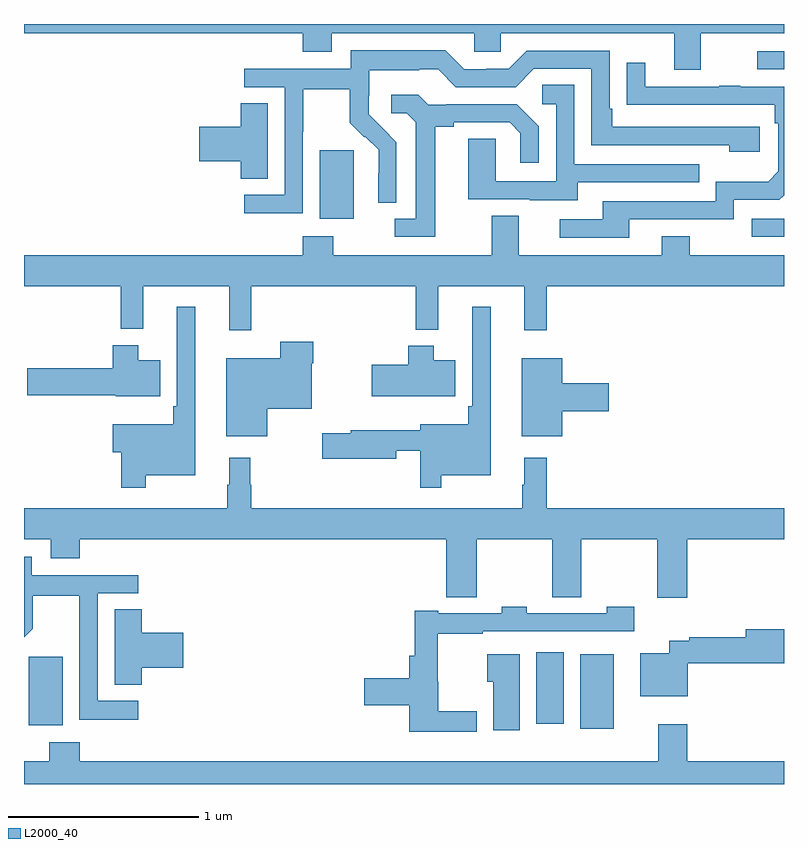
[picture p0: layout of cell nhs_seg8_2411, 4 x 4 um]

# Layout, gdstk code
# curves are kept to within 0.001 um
import gdstk
lib = gdstk.Library(unit=1e-6, precision=1e-09)
def R(c, l, rs):  # rectangles x0, y0, x1, y1
    for r in rs: c.add(gdstk.rectangle(r[:2], r[2:], *l))
def P(c, l, *ps):  # polygons
    for p in ps: c.add(gdstk.Polygon(p, *l))
L2000_40 = (2000, 40)

nhs_seg8_2411 = lib.new_cell('nhs_seg8_2411')
R(nhs_seg8_2411, L2000_40, [(265.928,1094.192,266.104,1094.584), (263.024,1094.21,263.203,1094.571), (265.697,1094.217,265.84,1094.593), (266.829,1096.779,267,1096.875), (264.557,1096.874,264.736,1097.235), (266.859,1097.661,267,1097.757)])
P(nhs_seg8_2411, L2000_40, [(263,1097.852),(264.467,1097.852),(264.467,1097.753),(264.619,1097.753),(264.619,1097.852),(265.371,1097.852),(265.371,1097.754),(265.509,1097.754),(265.509,1097.852),(266.423,1097.852),(266.423,1097.658),(266.563,1097.658),(266.563,1097.852),(267,1097.852),(267,1097.9),(263,1097.9)],
  [(264.468,1097.332),(264.471,1097.332),(264.471,1097.556),(264.715,1097.556),(264.715,1097.381),(264.792,1097.304),(264.795,1097.307),(264.866,1097.237),(264.866,1097.114),(264.864,1097.114),(264.864,1096.96),(264.96,1096.96),(264.96,1097.278),(264.814,1097.426),(264.814,1097.523),(264.816,1097.523),(264.816,1097.657),(265.079,1097.657),(265.079,1097.661),(265.179,1097.661),(265.272,1097.568),(265.587,1097.568),(265.683,1097.664),(265.986,1097.664),(265.986,1097.262),(266.711,1097.262),(266.711,1097.228),(266.872,1097.228),(266.872,1097.358),(266.095,1097.358),(266.095,1097.455),(266.082,1097.455),(266.082,1097.76),(265.647,1097.76),(265.551,1097.664),(265.433,1097.664),(265.433,1097.661),(265.317,1097.661),(265.217,1097.761),(264.72,1097.761),(264.72,1097.664),(264.159,1097.664),(264.159,1097.568),(264.372,1097.568),(264.372,1097.001),(264.159,1097.001),(264.159,1096.903),(264.468,1096.903)],
  [(266.185,1096.872),(266.736,1096.872),(266.736,1096.974),(266.976,1096.974),(267,1096.998),(267,1097.571),(266.771,1097.571),(266.771,1097.576),(266.659,1097.576),(266.659,1097.571),(266.269,1097.571),(266.269,1097.695),(266.173,1097.695),(266.173,1097.476),(266.95,1097.475),(266.95,1097.378),(266.97,1097.378),(266.97,1097.124),(266.917,1097.071),(266.64,1097.071),(266.64,1096.968),(266.045,1096.968),(266.045,1096.872),(265.821,1096.872),(265.821,1096.776),(266.185,1096.776)],
  [(265.915,1097.067),(266.555,1097.067),(266.555,1097.163),(265.896,1097.163),(265.896,1097.579),(265.728,1097.579),(265.728,1097.478),(265.8,1097.478),(265.8,1097.073),(265.482,1097.073),(265.482,1097.297),(265.337,1097.297),(265.337,1096.977),(265.661,1096.977),(265.661,1096.973),(265.915,1096.973)],
  [(265.165,1097.36),(265.261,1097.36),(265.261,1097.382),(265.556,1097.382),(265.613,1097.325),(265.613,1097.169),(265.71,1097.169),(265.71,1097.362),(265.594,1097.478),(265.222,1097.478),(265.222,1097.475),(265.128,1097.475),(265.076,1097.527),(264.933,1097.527),(264.933,1097.43),(265.014,1097.43),(265.061,1097.383),(265.061,1096.875),(264.951,1096.875),(264.951,1096.779),(265.165,1096.779)],
  [(264.283,1097.483),(264.14,1097.483),(264.14,1097.36),(263.922,1097.36),(263.922,1097.177),(264.14,1097.177),(264.14,1097.086),(264.283,1097.086)],
  [(264.197,1096.52),(265.063,1096.52),(265.063,1096.292),(265.181,1096.292),(265.181,1096.52),(265.634,1096.52),(265.634,1096.287),(265.751,1096.287),(265.751,1096.52),(267,1096.52),(267,1096.684),(266.505,1096.684),(266.505,1096.783),(266.357,1096.783),(266.357,1096.684),(265.603,1096.684),(265.603,1096.892),(265.463,1096.892),(265.463,1096.684),(264.627,1096.684),(264.627,1096.783),(264.467,1096.783),(264.467,1096.684),(263,1096.684),(263,1096.52),(263.509,1096.52),(263.509,1096.295),(263.627,1096.295),(263.627,1096.52),(264.08,1096.52),(264.08,1096.287),(264.197,1096.287)],
  [(265.195,1095.524),(265.456,1095.524),(265.456,1096.411),(265.359,1096.411),(265.359,1095.889),(265.339,1095.889),(265.339,1095.793),(265.085,1095.793),(265.085,1095.763),(264.719,1095.763),(264.719,1095.746),(264.57,1095.746),(264.57,1095.611),(264.958,1095.611),(264.958,1095.654),(265.086,1095.654),(265.086,1095.459),(265.195,1095.459)],
  [(263.641,1095.524),(263.902,1095.524),(263.902,1096.411),(263.805,1096.411),(263.805,1095.889),(263.785,1095.889),(263.785,1095.793),(263.468,1095.793),(263.468,1095.646),(263.512,1095.646),(263.512,1095.459),(263.641,1095.459)],
  [(264.28,1095.875),(264.514,1095.875),(264.514,1096.115),(264.522,1096.115),(264.522,1096.228),(264.349,1096.228),(264.349,1096.141),(264.065,1096.141),(264.065,1095.731),(264.28,1095.731)],
  [(263.716,1096.129),(263.602,1096.129),(263.602,1096.21),(263.468,1096.21),(263.468,1096.089),(263.016,1096.089),(263.016,1095.947),(263.484,1095.947),(263.484,1095.941),(263.716,1095.941)],
  [(265.27,1096.129),(265.156,1096.129),(265.156,1096.207),(265.022,1096.207),(265.022,1096.107),(264.831,1096.107),(264.831,1095.941),(265.27,1095.941)],
  [(265.834,1095.863),(266.077,1095.863),(266.077,1096.01),(265.834,1096.01),(265.834,1096.141),(265.619,1096.141),(265.619,1095.731),(265.834,1095.731)],
  [(266.492,1095.188),(267,1095.188),(267,1095.352),(265.751,1095.352),(265.751,1095.616),(265.634,1095.616),(265.634,1095.476),(265.623,1095.476),(265.623,1095.352),(264.197,1095.352),(264.197,1095.476),(264.19,1095.476),(264.19,1095.616),(264.08,1095.616),(264.08,1095.476),(264.069,1095.476),(264.069,1095.352),(263,1095.352),(263,1095.188),(263.141,1095.188),(263.141,1095.089),(263.294,1095.089),(263.294,1095.188),(265.223,1095.188),(265.223,1094.884),(265.382,1094.884),(265.382,1095.188),(265.78,1095.188),(265.78,1094.884),(265.934,1094.884),(265.934,1095.188),(266.332,1095.188),(266.332,1094.88),(266.492,1094.88)],
  [(263.602,1094.337),(263.388,1094.337),(263.388,1094.904),(263.602,1094.904),(263.602,1095),(263.04,1095),(263.04,1095.097),(263,1095.097),(263,1094.672),(263.045,1094.717),(263.045,1094.892),(263.29,1094.892),(263.29,1094.668),(263.292,1094.668),(263.292,1094.239),(263.602,1094.239)],
  [(265.384,1094.284),(265.18,1094.284),(265.18,1094.439),(265.178,1094.439),(265.178,1094.691),(265.415,1094.691),(265.415,1094.703),(266.212,1094.703),(266.212,1094.832),(266.067,1094.832),(266.067,1094.799),(265.647,1094.799),(265.647,1094.832),(265.515,1094.832),(265.515,1094.799),(265.18,1094.799),(265.18,1094.812),(265.057,1094.812),(265.057,1094.575),(265.028,1094.575),(265.028,1094.456),(264.792,1094.456),(264.792,1094.314),(265.028,1094.314),(265.028,1094.174),(265.384,1094.174)],
  [(263.621,1094.513),(263.839,1094.513),(263.839,1094.696),(263.621,1094.696),(263.621,1094.819),(263.477,1094.819),(263.477,1094.422),(263.621,1094.422)],
  [(266.493,1094.536),(267,1094.536),(267,1094.715),(266.798,1094.715),(266.798,1094.672),(266.5,1094.672),(266.5,1094.655),(266.397,1094.655),(266.397,1094.587),(266.243,1094.587),(266.243,1094.363),(266.493,1094.363)],
  [(265.609,1094.584),(265.439,1094.584),(265.439,1094.437),(265.469,1094.437),(265.469,1094.184),(265.609,1094.184)],
  [(267,1094.02),(266.492,1094.02),(266.492,1094.215),(266.339,1094.215),(266.339,1094.02),(263.294,1094.02),(263.294,1094.119),(263.134,1094.119),(263.134,1094.02),(263,1094.02),(263,1093.9),(267,1093.9)])

lib.write_gds('nhs_seg8_2411.gds')
